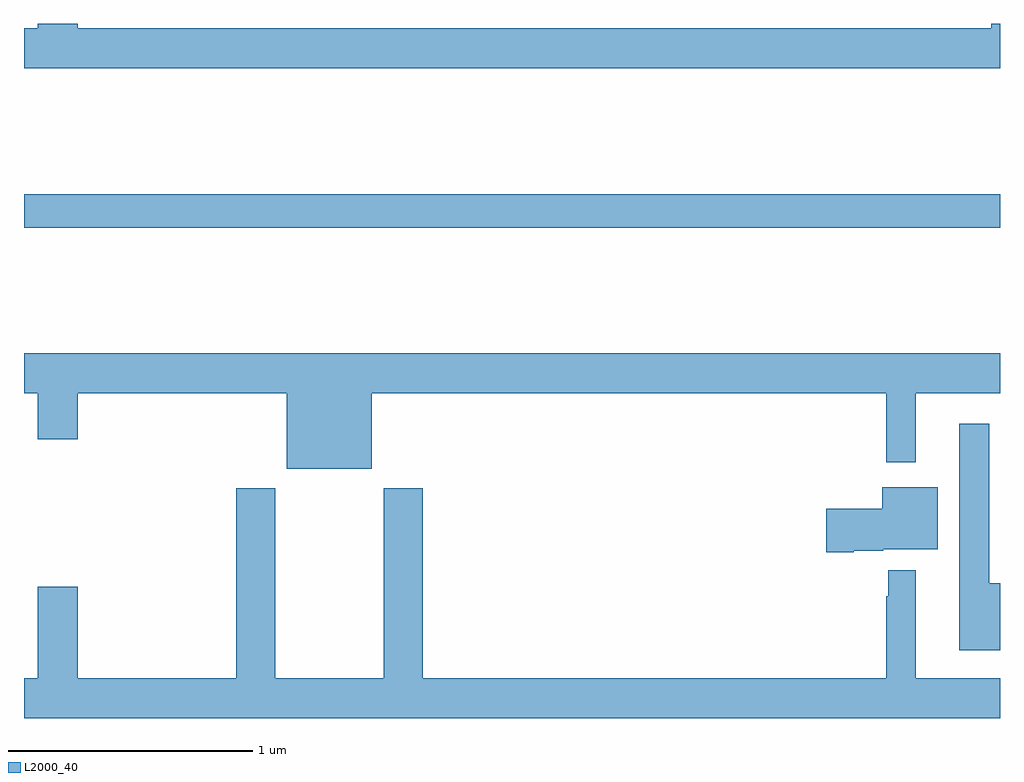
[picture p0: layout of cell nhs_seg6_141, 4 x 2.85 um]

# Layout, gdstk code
import gdstk
lib = gdstk.Library(unit=1e-6, precision=1e-09)
def R(c, l, rs):  # rectangles x0, y0, x1, y1
    for r in rs: c.add(gdstk.rectangle(r[:2], r[2:], *l))
def P(c, l, *ps):  # polygons
    for p in ps: c.add(gdstk.Polygon(p, *l))
L2000_40 = (2000, 40)

nhs_seg6_141 = lib.new_cell('nhs_seg6_141')
R(nhs_seg6_141, L2000_40, [(117,966.664,121,966.8)])
P(nhs_seg6_141, L2000_40, [(121,967.5),(120.965,967.5),(120.965,967.48),(117.22,967.48),(117.22,967.5),(117.056,967.5),(117.056,967.48),(117,967.48),(117,967.316),(121,967.316)],
  [(118.426,965.984),(120.534,965.984),(120.534,965.703),(120.655,965.703),(120.655,965.984),(121,965.984),(121,966.148),(117,966.148),(117,965.984),(117.056,965.984),(117.056,965.796),(117.22,965.796),(117.22,965.984),(118.076,965.984),(118.076,965.675),(118.426,965.675)],
  [(121,965.207),(120.955,965.207),(120.955,965.86),(120.833,965.86),(120.833,964.931),(121,964.931)],
  [(120.4,965.339),(120.522,965.339),(120.522,965.345),(120.745,965.345),(120.745,965.599),(120.518,965.599),(120.518,965.511),(120.288,965.511),(120.288,965.333),(120.4,965.333)],
  [(121,964.816),(120.655,964.816),(120.655,965.26),(120.541,965.26),(120.541,965.153),(120.534,965.153),(120.534,964.816),(118.634,964.816),(118.634,965.596),(118.474,965.596),(118.474,964.816),(118.029,964.816),(118.029,965.596),(117.869,965.596),(117.869,964.816),(117.22,964.816),(117.22,965.191),(117.056,965.191),(117.056,964.816),(117,964.816),(117,964.652),(121,964.652)])

lib.write_gds('nhs_seg6_141.gds')
